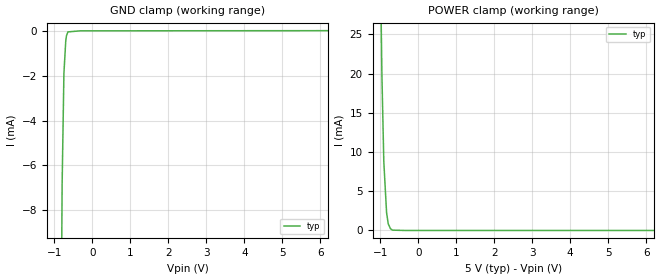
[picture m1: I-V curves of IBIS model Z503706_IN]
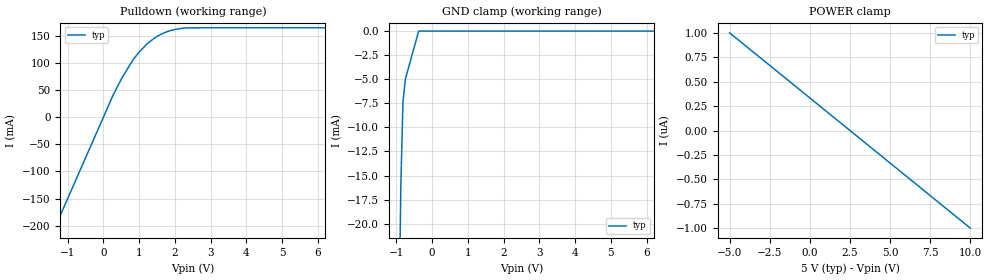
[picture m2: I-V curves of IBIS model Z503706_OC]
| YOU ARE ONLY AUTHORIZED TO USE THIS SOFTWARE
| ACCORDING TO LICENSOR'S LICENSE RESTRICTIONS.
[IBIS Ver] 3.1
[File Name] mc74ac05n_5.ibs
[File Rev] 2.0
[Source] Measured and created by ICX Technology
[Date] Friday 7/14/00 9:07:58 AM
[Copyright]
| (C) COPYRIGHT 1993-2000
| MENTOR GRAPHICS CORPORATION
| ICX STANDARD LIBRARY, ICX PROJECT MODELING,
| ICX CUSTOM MODELING, ICX VENDOR MODEL
| ALL RIGHTS RESERVED.
| THE FOLLOWING ARE TRADEMARKS OR SERVICE MARKS OF
| MENTOR GRAPHICS CORPORATION:ICX (R), ICX STANDARD
| LIBRARY(R), ICX PROJECT MODELING(R), ICX CUSTOM
| MODELING(R), qualityIBIS(TM), MODELVIEWER(TM),
| AND MODELEDITOR(TM)
| ALL COPIES OF SOFTWARE, INCLUDING BUT NOT LIMITED TO
| ANY MODIFICATIONS, ENHANCEMENTS OR DERIVATIVE WORKS,
| MUST CONTAIN ALL MENTOR GRAPHICS CORPORATION'S
| NOTICES AND LEGENDS, INCLUDING THOSE EMBEDDED IN
| SOFTWARE AND THOSE AFFIXED TO SOFTWARE MEDIUM
| AND CONTAINER, AS RECEIVED FROM MENTOR GRAPHICS
| CORPORATION.
|  ZAP Model Builder 2.7
[Component] MC74AC05N_5
[Manufacturer] OnSemiconductor
[Package]
| variable   typ   min   max
R_pkg  .21ohms NA NA
L_pkg  4.543nH NA NA
C_pkg  1.059pF NA NA
[Pin] signal_name  model_name  R_pin  L_pin C_pin
1 A Z503706_IN .22 6.757n 1.432p
2 Y Z503706_OC .212 4.757n 1.142p
3 A Z503706_IN .204 3.257n .852p
4 Y Z503706_OC .196 2.257n .562p
5 A Z503706_IN .204 3.257n .852p
6 Y Z503706_OC .212 4.757n 1.142p
7 GROUND GND .22 6.757n 1.432p
8 Y Z503706_OC .22 6.757n 1.432p
9 A Z503706_IN .212 4.757n 1.142p
10 Y Z503706_OC .204 3.257n .852p
11 A Z503706_IN .196 2.257n .562p
12 Y Z503706_OC .204 3.257n .852p
13 A Z503706_IN .212 4.757n 1.142p
14 VCC POWER .22 6.757n 1.432p
| Models and submodels in the file (2): Z503706_IN (Input), Z503706_OC (Open_sink)
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| (C) COPYRIGHT 1993-2000
| MENTOR GRAPHICS CORPORATION
| ICX STANDARD LIBRARY, ICX PROJECT MODELING,
| ICX CUSTOM MODELING, ICX VENDOR MODEL
| ALL RIGHTS RESERVED.
| THE FOLLOWING ARE TRADEMARKS OR SERVICE MARKS OF
| MENTOR GRAPHICS CORPORATION:ICX (R), ICX STANDARD
| LIBRARY(R), ICX PROJECT MODELING(R), ICX CUSTOM
| MODELING(R), qualityIBIS(TM), MODELVIEWER(TM),
| AND MODELEDITOR(TM)
| ALL COPIES OF SOFTWARE, INCLUDING BUT NOT LIMITED TO
| ANY MODIFICATIONS, ENHANCEMENTS OR DERIVATIVE WORKS,
| MUST CONTAIN ALL MENTOR GRAPHICS CORPORATION'S
| NOTICES AND LEGENDS, INCLUDING THOSE EMBEDDED IN
| SOFTWARE AND THOSE AFFIXED TO SOFTWARE MEDIUM
| AND CONTAINER, AS RECEIVED FROM MENTOR GRAPHICS
| CORPORATION.
| Model Application Version 1.89 2/18/99.
[Model] Z503706_IN
Model_type Input
Vinl = 1.500V
Vinh = 3.500V
C_comp 4.000pF NA NA
| variable typ   min   max
[Voltage Range] 5.000V NA NA
[GND Clamp Reference] 0.000V NA NA
[POWER Clamp Reference] 5.000V NA NA
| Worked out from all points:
|   GND clamp passes 1 mA (typ) near -0.72 V on its own axis
|   POWER clamp passes 1 mA (typ) near -0.80 V on its own axis
[GND Clamp]
-5V       -1.1A      NA         NA
-799mV    -6.85mA    NA         NA
-752mV    -1.898mA   NA         NA
-703.1mV  -433.1uA   NA         NA
-684.3mV  -216.6uA   NA         NA
-647.3mV  -44.74uA   NA         NA
-323.7mV  3.385uA    NA         NA
10V       15.1uA     NA         NA
[POWER Clamp]
-5V       1.425A     NA         NA
-957mV    19.6mA     NA         NA
-908mV    8.787mA    NA         NA
-835mV    2.263mA    NA         NA
-791mV    840.9uA    NA         NA
-733mV    226.8uA    NA         NA
-677mV    40.94uA    NA         NA
-338.5mV  0A         NA         NA
10V       0A         NA         NA
| (C) COPYRIGHT 1993-2000
| MENTOR GRAPHICS CORPORATION
| ICX STANDARD LIBRARY, ICX PROJECT MODELING,
| ICX CUSTOM MODELING, ICX VENDOR MODEL
| ALL RIGHTS RESERVED.
| THE FOLLOWING ARE TRADEMARKS OR SERVICE MARKS OF
| MENTOR GRAPHICS CORPORATION:ICX (R), ICX STANDARD
| LIBRARY(R), ICX PROJECT MODELING(R), ICX CUSTOM
| MODELING(R), qualityIBIS(TM), MODELVIEWER(TM),
| AND MODELEDITOR(TM)
| ALL COPIES OF SOFTWARE, INCLUDING BUT NOT LIMITED TO
| ANY MODIFICATIONS, ENHANCEMENTS OR DERIVATIVE WORKS,
| MUST CONTAIN ALL MENTOR GRAPHICS CORPORATION'S
| NOTICES AND LEGENDS, INCLUDING THOSE EMBEDDED IN
| SOFTWARE AND THOSE AFFIXED TO SOFTWARE MEDIUM
| AND CONTAINER, AS RECEIVED FROM MENTOR GRAPHICS
| CORPORATION.
| Model Application Version 1.89 2/18/99.
[Model] Z503706_OC
Model_type Open_sink
Vref=3.500V
Rref=250.0ohms
Cref=50.00pF
Vmeas=2.500V
C_comp 8.000pF NA NA
| variable typ   min   max
[Voltage Range] 5.000V NA NA
[POWER Clamp Reference] 5.000V NA NA
[Pullup Reference] 5.000V NA NA
[Pulldown Reference] 0.000V NA NA
[GND Clamp Reference] 0.000V NA NA
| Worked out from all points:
|   slope of the pulldown table from 0 to 0.75 V, typ, clamps not added: 7.72 ohm
[GND Clamp]
-5V       -1.129A    NA         NA
-869.1mV  -15.89mA   NA         NA
-810.5mV  -7.372mA   NA         NA
-741.9mV  -4.957mA   NA         NA
-371mV    0A         NA         NA
10V       0A         NA         NA
[Pulldown]
-5V       -749.9mA   NA         NA
263.7mV   39.33mA    NA         NA
529.2mV   73.49mA    NA         NA
830.1mV   105.5mA    NA         NA
996.1mV   119.4mA    NA         NA
1.218V    134.6mA    NA         NA
1.406V    144.5mA    NA         NA
1.755V    156.6mA    NA         NA
2.007V    161.3mA    NA         NA
2.441V    164.3mA    NA         NA
10V       164.4mA    NA         NA
[POWER Clamp]
-5V       1uA        NA         NA
10V       -1uA       NA         NA
[Ramp]
| variable typ min max
dV/dt_r 2.921/3.700n NA NA
dV/dt_f 2.921/424.4p NA NA
R_load = 250.0Ohms
